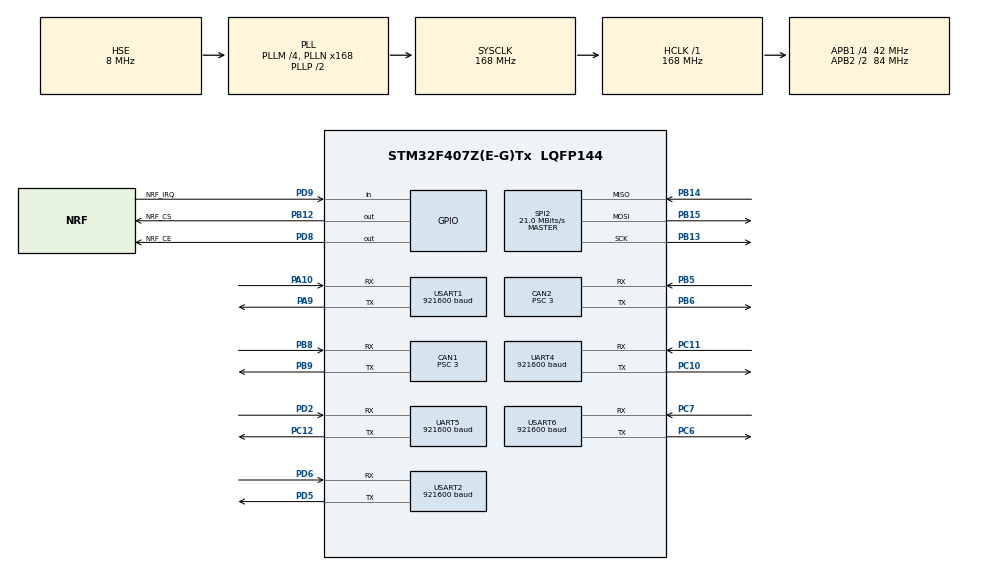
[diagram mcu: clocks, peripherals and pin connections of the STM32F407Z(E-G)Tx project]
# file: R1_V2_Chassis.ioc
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CAN1.ABOM=ENABLE
CAN1.AWUM=ENABLE
CAN1.BS1=CAN_BS1_9TQ
CAN1.BS2=CAN_BS2_4TQ
CAN1.CalculateBaudRate=1000000
CAN1.CalculateTimeBit=1000
CAN1.CalculateTimeQuantum=71.42857142857143
CAN1.NART=ENABLE
CAN1.Prescaler=3
CAN1.TTCM=DISABLE
CAN1.TXFP=DISABLE
CAN2.ABOM=ENABLE
CAN2.AWUM=ENABLE
CAN2.BS1=CAN_BS1_9TQ
CAN2.BS2=CAN_BS2_4TQ
CAN2.CalculateBaudRate=1000000
CAN2.CalculateTimeBit=1000
CAN2.CalculateTimeQuantum=71.42857142857143
CAN2.NART=ENABLE
CAN2.Prescaler=3
CAN2.TXFP=DISABLE
Dma.Request0=USART1_RX
Dma.Request1=USART1_TX
Dma.Request2=USART2_RX
Dma.Request3=USART2_TX
Dma.Request4=USART6_RX
Dma.Request5=USART6_TX
Dma.Request6=UART4_RX
Dma.Request7=UART4_TX
Dma.Request8=UART5_RX
Dma.Request9=UART5_TX
Dma.UART4_RX.6.Direction=DMA_PERIPH_TO_MEMORY
Dma.UART4_RX.6.FIFOMode=DMA_FIFOMODE_DISABLE
Dma.UART4_RX.6.Instance=DMA1_Stream2
Dma.UART4_RX.6.MemDataAlignment=DMA_MDATAALIGN_BYTE
Dma.UART4_RX.6.MemInc=DMA_MINC_ENABLE
Dma.UART4_RX.6.Mode=DMA_NORMAL
Dma.UART4_RX.6.PeriphDataAlignment=DMA_PDATAALIGN_BYTE
Dma.UART4_RX.6.PeriphInc=DMA_PINC_DISABLE
Dma.UART4_RX.6.Priority=DMA_PRIORITY_LOW
Dma.UART4_TX.7.Direction=DMA_MEMORY_TO_PERIPH
Dma.UART4_TX.7.FIFOMode=DMA_FIFOMODE_DISABLE
Dma.UART4_TX.7.Instance=DMA1_Stream4
Dma.UART4_TX.7.MemDataAlignment=DMA_MDATAALIGN_BYTE
Dma.UART4_TX.7.MemInc=DMA_MINC_ENABLE
Dma.UART4_TX.7.Mode=DMA_NORMAL
Dma.UART4_TX.7.PeriphDataAlignment=DMA_PDATAALIGN_BYTE
Dma.UART4_TX.7.PeriphInc=DMA_PINC_DISABLE
Dma.UART4_TX.7.Priority=DMA_PRIORITY_LOW
Dma.UART5_RX.8.Direction=DMA_PERIPH_TO_MEMORY
Dma.UART5_RX.8.FIFOMode=DMA_FIFOMODE_DISABLE
Dma.UART5_RX.8.Instance=DMA1_Stream0
Dma.UART5_RX.8.MemDataAlignment=DMA_MDATAALIGN_BYTE
Dma.UART5_RX.8.MemInc=DMA_MINC_ENABLE
Dma.UART5_RX.8.Mode=DMA_NORMAL
Dma.UART5_RX.8.PeriphDataAlignment=DMA_PDATAALIGN_BYTE
Dma.UART5_RX.8.PeriphInc=DMA_PINC_DISABLE
Dma.UART5_RX.8.Priority=DMA_PRIORITY_LOW
Dma.UART5_TX.9.Direction=DMA_MEMORY_TO_PERIPH
Dma.UART5_TX.9.FIFOMode=DMA_FIFOMODE_DISABLE
Dma.UART5_TX.9.Instance=DMA1_Stream7
Dma.UART5_TX.9.MemDataAlignment=DMA_MDATAALIGN_BYTE
Dma.UART5_TX.9.MemInc=DMA_MINC_ENABLE
Dma.UART5_TX.9.Mode=DMA_NORMAL
Dma.UART5_TX.9.PeriphDataAlignment=DMA_PDATAALIGN_BYTE
Dma.UART5_TX.9.PeriphInc=DMA_PINC_DISABLE
Dma.UART5_TX.9.Priority=DMA_PRIORITY_LOW
Dma.USART1_RX.0.Direction=DMA_PERIPH_TO_MEMORY
Dma.USART1_RX.0.FIFOMode=DMA_FIFOMODE_DISABLE
Dma.USART1_RX.0.Instance=DMA2_Stream2
Dma.USART1_RX.0.MemDataAlignment=DMA_MDATAALIGN_BYTE
Dma.USART1_RX.0.MemInc=DMA_MINC_ENABLE
Dma.USART1_RX.0.Mode=DMA_NORMAL
Dma.USART1_RX.0.PeriphDataAlignment=DMA_PDATAALIGN_BYTE
Dma.USART1_RX.0.PeriphInc=DMA_PINC_DISABLE
Dma.USART1_RX.0.Priority=DMA_PRIORITY_LOW
Dma.USART1_TX.1.Direction=DMA_MEMORY_TO_PERIPH
Dma.USART1_TX.1.FIFOMode=DMA_FIFOMODE_DISABLE
Dma.USART1_TX.1.Instance=DMA2_Stream7
Dma.USART1_TX.1.MemDataAlignment=DMA_MDATAALIGN_BYTE
Dma.USART1_TX.1.MemInc=DMA_MINC_ENABLE
Dma.USART1_TX.1.Mode=DMA_NORMAL
Dma.USART1_TX.1.PeriphDataAlignment=DMA_PDATAALIGN_BYTE
Dma.USART1_TX.1.PeriphInc=DMA_PINC_DISABLE
Dma.USART1_TX.1.Priority=DMA_PRIORITY_LOW
Dma.USART2_RX.2.Direction=DMA_PERIPH_TO_MEMORY
Dma.USART2_RX.2.FIFOMode=DMA_FIFOMODE_DISABLE
Dma.USART2_RX.2.Instance=DMA1_Stream5
Dma.USART2_RX.2.MemDataAlignment=DMA_MDATAALIGN_BYTE
Dma.USART2_RX.2.MemInc=DMA_MINC_ENABLE
Dma.USART2_RX.2.Mode=DMA_NORMAL
Dma.USART2_RX.2.PeriphDataAlignment=DMA_PDATAALIGN_BYTE
Dma.USART2_RX.2.PeriphInc=DMA_PINC_DISABLE
Dma.USART2_RX.2.Priority=DMA_PRIORITY_LOW
Dma.USART2_TX.3.Direction=DMA_MEMORY_TO_PERIPH
Dma.USART2_TX.3.FIFOMode=DMA_FIFOMODE_DISABLE
Dma.USART2_TX.3.Instance=DMA1_Stream6
Dma.USART2_TX.3.MemDataAlignment=DMA_MDATAALIGN_BYTE
Dma.USART2_TX.3.MemInc=DMA_MINC_ENABLE
Dma.USART2_TX.3.Mode=DMA_NORMAL
Dma.USART2_TX.3.PeriphDataAlignment=DMA_PDATAALIGN_BYTE
Dma.USART2_TX.3.PeriphInc=DMA_PINC_DISABLE
Dma.USART2_TX.3.Priority=DMA_PRIORITY_LOW
Dma.USART6_RX.4.Direction=DMA_PERIPH_TO_MEMORY
Dma.USART6_RX.4.FIFOMode=DMA_FIFOMODE_DISABLE
Dma.USART6_RX.4.Instance=DMA2_Stream1
Dma.USART6_RX.4.MemDataAlignment=DMA_MDATAALIGN_BYTE
Dma.USART6_RX.4.MemInc=DMA_MINC_ENABLE
Dma.USART6_RX.4.Mode=DMA_NORMAL
Dma.USART6_RX.4.PeriphDataAlignment=DMA_PDATAALIGN_BYTE
Dma.USART6_RX.4.PeriphInc=DMA_PINC_DISABLE
Dma.USART6_RX.4.Priority=DMA_PRIORITY_LOW
Dma.USART6_TX.5.Direction=DMA_MEMORY_TO_PERIPH
Dma.USART6_TX.5.FIFOMode=DMA_FIFOMODE_DISABLE
Dma.USART6_TX.5.Instance=DMA2_Stream6
Dma.USART6_TX.5.MemDataAlignment=DMA_MDATAALIGN_BYTE
Dma.USART6_TX.5.MemInc=DMA_MINC_ENABLE
Dma.USART6_TX.5.Mode=DMA_NORMAL
Dma.USART6_TX.5.PeriphDataAlignment=DMA_PDATAALIGN_BYTE
Dma.USART6_TX.5.PeriphInc=DMA_PINC_DISABLE
Dma.USART6_TX.5.Priority=DMA_PRIORITY_LOW
FREERTOS.Tasks01=_Remote_Control,24,512,Remote_Control,Default,NULL,Dynamic,NULL,NULL;_Navigation,8,1024,Navigation,Default,NULL,Dynamic,NULL,NULL;_Location,24,1024,Location,Default,NULL,Dynamic,NULL,NULL;_Local_Control,32,512,Local_Control,Default,NULL,Dynamic,NULL,NULL
Mcu.Family=STM32F4
Mcu.Name=STM32F407Z(E-G)Tx
Mcu.Package=LQFP144
NVIC.CAN1_RX0_IRQn=true\:5\:0\:false\:false\:true\:true\:true\:true\:true
NVIC.CAN2_RX0_IRQn=true\:5\:0\:false\:false\:true\:true\:true\:true\:true
NVIC.DMA1_Stream0_IRQn=true\:5\:0\:false\:false\:true\:true\:false\:true\:true
NVIC.DMA1_Stream2_IRQn=true\:5\:0\:false\:false\:true\:true\:false\:true\:true
NVIC.DMA1_Stream4_IRQn=true\:5\:0\:false\:false\:true\:true\:false\:true\:true
NVIC.DMA1_Stream5_IRQn=true\:5\:0\:false\:false\:true\:true\:false\:true\:true
NVIC.DMA1_Stream6_IRQn=true\:5\:0\:false\:false\:true\:true\:false\:true\:true
NVIC.DMA1_Stream7_IRQn=true\:5\:0\:false\:false\:true\:true\:false\:true\:true
NVIC.DMA2_Stream1_IRQn=true\:5\:0\:false\:false\:true\:true\:false\:true\:true
NVIC.DMA2_Stream2_IRQn=true\:5\:0\:false\:false\:true\:true\:false\:true\:true
NVIC.DMA2_Stream6_IRQn=true\:5\:0\:false\:false\:true\:true\:false\:true\:true
NVIC.DMA2_Stream7_IRQn=true\:5\:0\:false\:false\:true\:true\:false\:true\:true
NVIC.PriorityGroup=NVIC_PRIORITYGROUP_4
NVIC.TIM3_IRQn=true\:5\:0\:false\:false\:true\:true\:true\:true\:true
NVIC.TIM4_IRQn=true\:15\:0\:false\:false\:true\:false\:false\:true\:true
NVIC.TimeBase=TIM4_IRQn
NVIC.TimeBaseIP=TIM4
NVIC.UART4_IRQn=true\:5\:0\:false\:false\:true\:true\:true\:true\:true
NVIC.UART5_IRQn=true\:5\:0\:false\:false\:true\:true\:true\:true\:true
NVIC.USART1_IRQn=true\:5\:0\:false\:false\:true\:true\:true\:true\:true
NVIC.USART2_IRQn=true\:5\:0\:false\:false\:true\:true\:true\:true\:true
NVIC.USART6_IRQn=true\:5\:0\:false\:false\:true\:true\:true\:true\:true
PA10.Mode=Asynchronous
PA10.Signal=USART1_RX
PA13.Mode=Serial_Wire
PA13.Signal=SYS_JTMS-SWDIO
PA14.Mode=Serial_Wire
PA14.Signal=SYS_JTCK-SWCLK
PA9.Mode=Asynchronous
PA9.Signal=USART1_TX
PB12.GPIO_Label=NRF_CS
PB12.GPIO_PuPd=GPIO_PULLUP
PB12.GPIO_Speed=GPIO_SPEED_FREQ_VERY_HIGH
PB12.Signal=GPIO_Output
PB13.Mode=Full_Duplex_Master
PB13.Signal=SPI2_SCK
PB14.Mode=Full_Duplex_Master
PB14.Signal=SPI2_MISO
PB15.Mode=Full_Duplex_Master
PB15.Signal=SPI2_MOSI
PB5.Mode=CAN_Activate
PB5.Signal=CAN2_RX
PB6.Mode=CAN_Activate
PB6.Signal=CAN2_TX
PB8.Mode=CAN_Activate
PB8.Signal=CAN1_RX
PB9.Mode=CAN_Activate
PB9.Signal=CAN1_TX
PC10.GPIO_PuPd=GPIO_PULLUP
PC10.Mode=Asynchronous
PC10.Signal=UART4_TX
PC11.GPIO_PuPd=GPIO_PULLUP
PC11.Mode=Asynchronous
PC11.Signal=UART4_RX
PC12.GPIO_PuPd=GPIO_PULLUP
PC12.Mode=Asynchronous
PC12.Signal=UART5_TX
PC6.Mode=Asynchronous
PC6.Signal=USART6_TX
PC7.Mode=Asynchronous
PC7.Signal=USART6_RX
PD2.GPIO_PuPd=GPIO_PULLUP
PD2.Mode=Asynchronous
PD2.Signal=UART5_RX
PD5.Mode=Asynchronous
PD5.Signal=USART2_TX
PD6.Mode=Asynchronous
PD6.Signal=USART2_RX
PD8.GPIO_Label=NRF_CE
PD8.GPIO_PuPd=GPIO_PULLUP
PD8.GPIO_Speed=GPIO_SPEED_FREQ_VERY_HIGH
PD8.Signal=GPIO_Output
PD9.GPIO_Label=NRF_IRQ
PD9.GPIO_PuPd=GPIO_PULLUP
PD9.Signal=GPIO_Input
PH0-OSC_IN.Mode=HSE-External-Oscillator
PH0-OSC_IN.Signal=RCC_OSC_IN
PH1-OSC_OUT.Mode=HSE-External-Oscillator
PH1-OSC_OUT.Signal=RCC_OSC_OUT
ProjectManager.HeapSize=0x200
ProjectManager.StackSize=0x400
ProjectManager.TargetToolchain=MDK-ARM V5.32
RCC.48MHZClocksFreq_Value=84000000
RCC.AHBFreq_Value=168000000
RCC.APB1CLKDivider=RCC_HCLK_DIV4
RCC.APB1Freq_Value=42000000
RCC.APB1TimFreq_Value=84000000
RCC.APB2CLKDivider=RCC_HCLK_DIV2
RCC.APB2Freq_Value=84000000
RCC.APB2TimFreq_Value=168000000
RCC.CortexFreq_Value=168000000
RCC.HCLKFreq_Value=168000000
RCC.HSE_VALUE=8000000
RCC.HSI_VALUE=16000000
RCC.LSE_VALUE=32768
RCC.PLLM=4
RCC.PLLN=168
RCC.PLLSourceVirtual=RCC_PLLSOURCE_HSE
RCC.SYSCLKFreq_VALUE=168000000
RCC.SYSCLKSource=RCC_SYSCLKSOURCE_PLLCLK
RCC.VCOOutputFreq_Value=336000000
SPI2.CalculateBaudRate=21.0 MBits/s
SPI2.Direction=SPI_DIRECTION_2LINES
SPI2.Mode=SPI_MODE_MASTER
SPI2.VirtualType=VM_MASTER
TIM3.Period=49
TIM3.Prescaler=1679
UART4.BaudRate=921600
UART4.VirtualMode=Asynchronous
UART5.BaudRate=921600
UART5.VirtualMode=Asynchronous
USART1.BaudRate=921600
USART1.VirtualMode=VM_ASYNC
USART2.BaudRate=921600
USART2.VirtualMode=VM_ASYNC
USART6.BaudRate=921600
USART6.VirtualMode=VM_ASYNC
VP_FREERTOS_VS_CMSIS_V2.Mode=CMSIS_V2
VP_SYS_VS_tim4.Mode=TIM4
VP_TIM3_VS_ClockSourceINT.Mode=Internal
board=custom

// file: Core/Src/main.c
/* USER CODE BEGIN Header */
/**
  ******************************************************************************
  * @file           : main.c
  * @brief          : Main program body
  ******************************************************************************
  * @attention
  *
  * Copyright (c) 2026 STMicroelectronics.
  * All rights reserved.
  *
  * This software is licensed under terms that can be found in the LICENSE file
  * in the root directory of this software component.
  * If no LICENSE file comes with this software, it is provided AS-IS.
  *
  ******************************************************************************
  */
/* USER CODE END Header */
#include "main.h"
#include "cmsis_os.h"
#include "can.h"
#include "dma.h"
#include "spi.h"
#include "tim.h"
#include "usart.h"
#include "gpio.h"

/* USER CODE BEGIN Includes */
#include "Can_Bsp.h"
//#include "gyro.h"
#include "HIPNUC_gyro.h"
#include <string.h>
#include "remote_control_task.h"
#include "old_gyro.h"
/* USER CODE END Includes */

void SystemClock_Config(void);
void MX_FREERTOS_Init(void);

int main(void)
{

  /* MCU Configuration--------------------------------------------------------*/

  /* Reset of all peripherals, Initializes the Flash interface and the Systick. */
  HAL_Init();

  /* Configure the system clock */
  SystemClock_Config();

  /* Initialize all configured peripherals */
  MX_GPIO_Init();
  MX_DMA_Init();
  MX_USART1_UART_Init();
  MX_USART2_UART_Init();
  MX_USART6_UART_Init();
  MX_CAN1_Init();
  MX_CAN2_Init();
  MX_SPI2_Init();
  MX_UART4_Init();
  MX_TIM3_Init();
  MX_UART5_Init();
  /* USER CODE BEGIN 2 */

//CAN初�?�化
  can1_start();
  can2_start();

//USART6初�?�化（向上位机VOFA发送数�?的串口）
  __HAL_UART_ENABLE_IT(&huart6, UART_IT_IDLE);

//�?动TIM3定时器用于System_Monitor计算
  HAL_TIM_Base_Start_IT(&htim3);

//USART2初�?�化（接收陀螺仪数据�?

//  app_init();

	  // 开启 USART2 空闲中断 DMA 接收
//    HAL_UARTEx_ReceiveToIdle_DMA(&huart2, (uint8_t *)g_Usart2_Rx_buf, 17);
//		__HAL_DMA_DISABLE_IT(&hdma_usart2_rx, DMA_IT_HT);

  __HAL_UART_DISABLE(&huart2);
	__HAL_UART_FLUSH_DRREGISTER(&huart2);
	__HAL_UART_CLEAR_OREFLAG(&huart2);
	HAL_UART_Receive_DMA(&huart2, (uint8_t *)g_uart_rx_buf, 512);
	__HAL_UART_ENABLE_IT(&huart2, UART_IT_IDLE);
	__HAL_UART_ENABLE(&huart2);

//USART1初�?�化（上下板通信�?
	__HAL_UART_ENABLE_IT(&huart1, UART_IT_IDLE);
  HAL_UART_Receive_DMA(&huart1, uart1_rx_buff,3);

uart1_tx_buffer[0]=0x11;
uart1_tx_buffer[25]=0x22;

////上下板通信部分
//		HAL_UART_Transmit_DMA(&huart1, uart1_tx_buffer, 26);

//USART4初�?�化（接收遥控模块数�?�?
  HAL_UARTEx_ReceiveToIdle_DMA(&huart4, nRF24L01_RxBuf, 9);
  __HAL_DMA_DISABLE_IT(&hdma_uart4_rx, DMA_IT_HT);

	//UART5初�?�化（接收雷达数据）
//	   HAL_UART_Receive_DMA(&huart5, Radar_RxBuf, 34);
  HAL_UARTEx_ReceiveToIdle_DMA(&huart5, Radar_RxBuf, 38);
  __HAL_DMA_DISABLE_IT(&hdma_uart5_rx, DMA_IT_HT);

  /* USER CODE END 2 */

  /* Init scheduler */
  osKernelInitialize();  /* Call init function for freertos objects (in cmsis_os2.c) */
  MX_FREERTOS_Init();

  /* Start scheduler */
  osKernelStart();

  /* We should never get here as control is now taken by the scheduler */

  /* Infinite loop */
  while (1)
  {

  }
}

void SystemClock_Config(void)
{
  RCC_OscInitTypeDef RCC_OscInitStruct = {0};
  RCC_ClkInitTypeDef RCC_ClkInitStruct = {0};

  /** Configure the main internal regulator output voltage
  */
  __HAL_RCC_PWR_CLK_ENABLE();
  __HAL_PWR_VOLTAGESCALING_CONFIG(PWR_REGULATOR_VOLTAGE_SCALE1);

  /** Initializes the RCC Oscillators according to the specified parameters
  * in the RCC_OscInitTypeDef structure.
  */
  RCC_OscInitStruct.OscillatorType = RCC_OSCILLATORTYPE_HSE;
  RCC_OscInitStruct.HSEState = RCC_HSE_ON;
  RCC_OscInitStruct.PLL.PLLState = RCC_PLL_ON;
  RCC_OscInitStruct.PLL.PLLSource = RCC_PLLSOURCE_HSE;
  RCC_OscInitStruct.PLL.PLLM = 4;
  RCC_OscInitStruct.PLL.PLLN = 168;
  RCC_OscInitStruct.PLL.PLLP = RCC_PLLP_DIV2;
  RCC_OscInitStruct.PLL.PLLQ = 4;
  if (HAL_RCC_OscConfig(&RCC_OscInitStruct) != HAL_OK)
  {
    Error_Handler();
  }

  /** Initializes the CPU, AHB and APB buses clocks
  */
  RCC_ClkInitStruct.ClockType = RCC_CLOCKTYPE_HCLK|RCC_CLOCKTYPE_SYSCLK
                              |RCC_CLOCKTYPE_PCLK1|RCC_CLOCKTYPE_PCLK2;
  RCC_ClkInitStruct.SYSCLKSource = RCC_SYSCLKSOURCE_PLLCLK;
  RCC_ClkInitStruct.AHBCLKDivider = RCC_SYSCLK_DIV1;
  RCC_ClkInitStruct.APB1CLKDivider = RCC_HCLK_DIV4;
  RCC_ClkInitStruct.APB2CLKDivider = RCC_HCLK_DIV2;

  if (HAL_RCC_ClockConfig(&RCC_ClkInitStruct, FLASH_LATENCY_5) != HAL_OK)
  {
    Error_Handler();
  }
}

void HAL_TIM_PeriodElapsedCallback(TIM_HandleTypeDef *htim)
{
  /* USER CODE BEGIN Callback 0 */
if (htim->Instance == TIM3)
{

    if(nav.nav_state==NAV_AREA_1||nav.nav_state==NAV_AREA_2||nav.nav_state==NAV_AREA_3||nav.nav_state==NAV_AREA_3_RESET||nav.nav_state==NAV_AREA_3_SINGLE)
			{
				nav.auto_path.run_time++;

        //����������ʱû�þ���ע�͵���
				//nav.auto_path.rotation_time++;
				//nav.auto_path.run_Sumtime++;
			}

	 location_filter.tim++;
	  nRF24L01_Tick++;
		gyro_tick++;
	  tim_sum_monitor++;

		if(tim_sum_monitor==1000)
		{
			system_monitor.flw_fps=system_monitor.flw_cnt;
			system_monitor.flw_cnt=0;

			system_monitor.can_send_fps_chassis=system_monitor.can_send_cnt_chassis;
			system_monitor.can_send_cnt_chassis=0; //底层航模电机CAN发送

			system_monitor.can_send_fps_3508=system_monitor.can_send_cnt_3508;
			system_monitor.	can_send_cnt_3508=0;   //3508的发送

			 for(int i=0;i<2;i++)
			{
				system_monitor.can_rec_fps[i]=system_monitor.can_rec_cnt[i];
				system_monitor.can_rec_cnt[i]=0;     //CAN1 CAN2接收
			}

			system_monitor.motor_LU_fps=system_monitor.motor_LU_cnt;
			system_monitor.motor_LU_cnt=0;

			system_monitor.motor_RU_fps=system_monitor.motor_RU_cnt;
			system_monitor.motor_RU_cnt=0;

			system_monitor.motor_RD_fps=system_monitor.motor_RD_cnt;
			system_monitor.motor_RD_cnt=0;

			system_monitor.motor_LD_fps=system_monitor.motor_LD_cnt;
			system_monitor.motor_LD_cnt=0;

			system_monitor.remote_control_fps=system_monitor.remote_control_cnt;
			system_monitor.remote_control_cnt=0;//接收遥控器数�?

			system_monitor.gyro_fps=system_monitor.gyro_cnt;
			system_monitor.gyro_cnt=0;//陀螺仪接收

			system_monitor.location_fps=system_monitor.location_cnt;
			system_monitor.location_cnt=0;//定位任务运�??

			system_monitor.navigation_fps=system_monitor.navigation_cnt;
			system_monitor.navigation_cnt=0;//导航任务运�??

			system_monitor.VOFA_fps=system_monitor.VOFA_cnt;
			system_monitor.VOFA_cnt=0;//VOFA发�?

			 for(int i=0;i<2;i++)
			{
      system_monitor.Crane_3508_fps[i]=system_monitor.Crane_3508_cnt[i];
				system_monitor.Crane_3508_cnt[i]=0;//起重机两�?3508
			}

      system_monitor.communicate_tx_fps=system_monitor.communicate_tx_cnt;
      system_monitor.communicate_tx_cnt=0;//向上板发�?

			system_monitor.communicate_rx_fps=system_monitor.communicate_rx_cnt;
			system_monitor.communicate_rx_cnt=0;//从上板接�?

			system_monitor.AirBoard_Receive_fps=system_monitor.AirBoard_Receive_cnt;
			system_monitor.AirBoard_Receive_cnt=0;

			system_monitor.Vision_Receive_fps=system_monitor.Vision_Receive_cnt;
			system_monitor.Vision_Receive_cnt=0;

			tim_sum_monitor=0;

	  }
		 if (location_filter.tim >= 25){
      location_filter.tim = 0;
      location_filter.flag = 1;}

}
  /* USER CODE END Callback 0 */
  if (htim->Instance == TIM4)
  {
    HAL_IncTick();
  }
}

void Error_Handler(void)
{
  __disable_irq();
  while (1)
  {
  }
}

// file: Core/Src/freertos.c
/* USER CODE BEGIN Header */
/**
  ******************************************************************************
  * File Name          : freertos.c
  * Description        : Code for freertos applications
  ******************************************************************************
  * @attention
  *
  * Copyright (c) 2026 STMicroelectronics.
  * All rights reserved.
  *
  * This software is licensed under terms that can be found in the LICENSE file
  * in the root directory of this software component.
  * If no LICENSE file comes with this software, it is provided AS-IS.
  *
  ******************************************************************************
  */
/* USER CODE END Header */

#include "FreeRTOS.h"
#include "task.h"
#include "main.h"
#include "cmsis_os.h"

/* USER CODE BEGIN Includes */
#include "Navigation_Task.h"
#include "Location_Task.h"
#include "Can_Bsp.h"
#include "usart.h"
#include "vofa.h"
#include "Vision.h"
#include "old_gyro.h"
/* USER CODE END Includes */

/* Definitions for _Remote_Control */
osThreadId_t _Remote_ControlHandle;
const osThreadAttr_t _Remote_Control_attributes = {
  .name = "_Remote_Control",
  .stack_size = 512 * 4,
  .priority = (osPriority_t) osPriorityNormal,
};
/* Definitions for _Navigation */
osThreadId_t _NavigationHandle;
const osThreadAttr_t _Navigation_attributes = {
  .name = "_Navigation",
  .stack_size = 1024 * 4,
  .priority = (osPriority_t) osPriorityLow,
};
/* Definitions for _Location */
osThreadId_t _LocationHandle;
const osThreadAttr_t _Location_attributes = {
  .name = "_Location",
  .stack_size = 1024 * 4,
  .priority = (osPriority_t) osPriorityNormal,
};
/* Definitions for _Local_Control */
osThreadId_t _Local_ControlHandle;
const osThreadAttr_t _Local_Control_attributes = {
  .name = "_Local_Control",
  .stack_size = 512 * 4,
  .priority = (osPriority_t) osPriorityAboveNormal,
};

void Remote_Control(void *argument);
void Navigation(void *argument);
void Location(void *argument);
void Local_Control(void *argument);

void MX_FREERTOS_Init(void); /* (MISRA C 2004 rule 8.1) */

void MX_FREERTOS_Init(void) {

  /* Create the thread(s) */
  /* creation of _Remote_Control */
  _Remote_ControlHandle = osThreadNew(Remote_Control, NULL, &_Remote_Control_attributes);

  /* creation of _Navigation */
  _NavigationHandle = osThreadNew(Navigation, NULL, &_Navigation_attributes);

  /* creation of _Location */
  _LocationHandle = osThreadNew(Location, NULL, &_Location_attributes);

  /* creation of _Local_Control */
  _Local_ControlHandle = osThreadNew(Local_Control, NULL, &_Local_Control_attributes);

}

void Remote_Control(void *argument)
{
  /* USER CODE BEGIN Remote_Control */
  /* Infinite loop */
  for(;;)
  {
		//遥控器部分（3ms一次）
		if(nRF24L01_Tick==3)
		{
		parseDataPacket(nRF24L01_RxBuf, &Js_Value);//解析遥控发来的数�?
		pack_data(&nRF24L01_ack_pay.Ack_Buf[0]);//打包发回遥控器的数据
		HAL_UART_Transmit_DMA(&huart4, nRF24L01_ack_pay.Ack_Buf, 5);//发回遥控�?
		nRF24L01_Tick=0;
		}

		//上下板通信部分
		HAL_UART_Transmit_DMA(&huart1, uart1_tx_buffer, 26);

		//发给上位机VOFA的部�?
		//（vofa数组赋值）
		vofa[0]=chassis_run.leftdown.fpU;
		vofa[1]=chassis_run.leftup.fpU;
		vofa[2]=chassis_run.rightup.fpU;
		vofa[3]=chassis_run.rightdown.fpU;
		vofa[4]=nav.auto_path.pos_pid.w.fpDes;
		vofa[5]=nav.auto_path.pos_pid.w.fpFB;

		vofa[6]=chassis_run.leftdown.fpDes;
		vofa[7]=chassis_run.leftdown.fpFB;

		vofa[8]=chassis_run.leftup.fpDes;
		vofa[9]=chassis_run.leftup.fpFB;

		vofa[10]=chassis_run.rightup.fpDes;
		vofa[11]=chassis_run.rightup.fpFB;

		vofa[12]=chassis_run.rightdown.fpDes;
		vofa[13]=chassis_run.rightdown.fpFB;
//    vofa[13]=system_monitor.flw_fps;

//		vofa[14]=degreeA;
//    vofa[15]=degreeB;
//		vofa[16]=stRobot.stPos.fpPosX;
//		vofa[17]=stRobot.stPos.fpPosY;
//		vofa[18]=stRobot.stPos.fpPosQ;
    vofa[16]=Vision_Data.x2;
		vofa[17]=system_monitor.Vision_Receive_fps;
		vofa[18]=system_monitor.communicate_tx_fps;

		VOFA_transmit_data(vofa, 19);//vofa发�?

    vTaskDelay(pdMS_TO_TICKS(1));
  }
  /* USER CODE END Remote_Control */
}

void Navigation(void *argument)
{
  /* USER CODE BEGIN Navigation */
  /* Infinite loop */
  for(;;)
  {

		//navigation();
		system_monitor.navigation_cnt++;

    vTaskDelay(pdMS_TO_TICKS(5));
  }
  /* USER CODE END Navigation */
}

void Location(void *argument)
{
  /* USER CODE BEGIN Location */
  /* Infinite loop */
  for(;;)
  {

//	if(gyro_tick>=5)//   200HZ处理陀螺仪数据
//	{
//		process_data();
//		 gyro_tick=0;
//	}

//	 Vision_Location();
  //  all_locate();//混合定位
		Follower_Wheel_Location(&stRobot,&stFollowerWheel);//纯随动轮定位
//    UpdatePositionFeedback(&nav,&stRobot);//更新位置环pid
//		PositionToVelt();//计算自身速度
		system_monitor.location_cnt++;

    vTaskDelay(pdMS_TO_TICKS(1));
  }
  /* USER CODE END Location */
}

void Local_Control(void *argument)
{
  /* USER CODE BEGIN Local_Control */
  /* Infinite loop */
    for(;;)
  {
		if(g_uart_rx_cnt > 0)
		{
			memcpy(g_decode_data + g_decode_data_pos, g_uart_rx_buf, g_uart_rx_cnt);
			g_decode_data_pos += g_uart_rx_cnt;
			g_uart_rx_cnt = 0;
		}

		if(g_decode_data_pos > 0)
		{
			analysis_data(g_decode_data, g_decode_data_pos);
		}

    QD_CANx_SendstdData(&hcan1,0x300,AirCtrl_1,1);//向气动板发送从上层接收到的一位数组
		QD_CANx_SendstdData(&hcan1,0x400,AirCtrl_2,1);//向气动板发送从上层接收到的一位数组
    Chassis_Motor_Ctrl();
    Crane_3508_Ctrl();
		Vision_Transmit();
    vTaskDelay(pdMS_TO_TICKS(1));
  }
  /* USER CODE END Local_Control */
}
